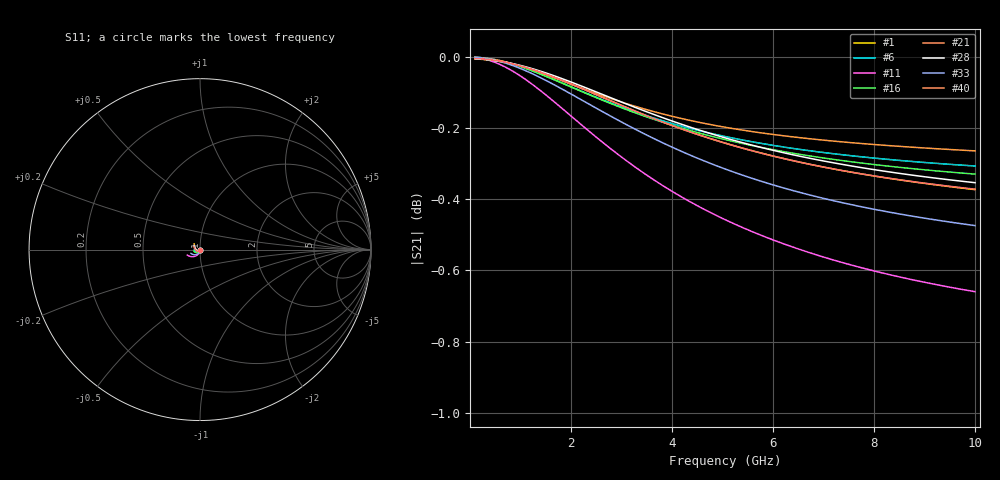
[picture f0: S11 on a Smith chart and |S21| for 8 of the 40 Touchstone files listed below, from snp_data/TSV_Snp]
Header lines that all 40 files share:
! Touchstone file exported from HFSS 2024.1.0
!  Design:  TSV1
!  Setup:  Setup1
!  Solution:  Sweep
! Variables:
# GHz S MA R 50.000000
! Terminal data exported
! Port[1] = TSV22_T1
! Port[2] = TSV22_T2
Fixed: hbump = 3um, lrdl = 252.1521522um, p = 40, t = 500um, trdl = 3um, wrdl = 24.89489489um
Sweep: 100 MHz to 10 GHz
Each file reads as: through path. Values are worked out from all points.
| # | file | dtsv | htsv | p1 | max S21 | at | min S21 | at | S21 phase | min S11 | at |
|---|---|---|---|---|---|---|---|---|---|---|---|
| 1 | dut0.s2p | 5.08um | 99.49um | 51.03um | -0.01 dB | 100 MHz | -0.4 dB | 10 GHz | -4 deg at 5.1 GHz | -61.8 dB | 100 MHz |
| 2 | dut1.s2p | 10.61um | 98.44um | 49.97um | 0.00 dB | 100 MHz | -0.5 dB | 10 GHz | -4 deg at 5.1 GHz | -56.0 dB | 100 MHz |
| 3 | dut2.s2p | 12.22um | 78.29um | 45.14um | 0.00 dB | 100 MHz | -0.5 dB | 10 GHz | -4 deg at 5.1 GHz | -56.5 dB | 100 MHz |
| 4 | dut3.s2p | 13.84um | 89.66um | 59.86um | 0.00 dB | 100 MHz | -0.5 dB | 10 GHz | -4 deg at 5.1 GHz | -54.5 dB | 100 MHz |
| 5 | dut4.s2p | 10.47um | 62.48um | 43.93um | 0.00 dB | 100 MHz | -0.4 dB | 10 GHz | -3 deg at 5.1 GHz | -59.6 dB | 100 MHz |
| 6 | dut5.s2p | 12.37um | 52.35um | 54.32um | 0.00 dB | 100 MHz | -0.3 dB | 10 GHz | -3 deg at 5.1 GHz | -60.4 dB | 100 MHz |
| 7 | dut6.s2p | 13.36um | 87.99um | 50um | 0.00 dB | 100 MHz | -0.6 dB | 10 GHz | -4 deg at 5.1 GHz | -54.7 dB | 100 MHz |
| 8 | dut7.s2p | 9.18um | 60.91um | 45.67um | 0.00 dB | 100 MHz | -0.3 dB | 10 GHz | -3 deg at 5.1 GHz | -61.0 dB | 100 MHz |
| 9 | dut8.s2p | 6.12um | 51.68um | 51.59um | 0.00 dB | 100 MHz | -0.2 dB | 10 GHz | -2 deg at 5.1 GHz | -65.4 dB | 100 MHz |
| 10 | dut9.s2p | 11.55um | 77.41um | 40.06um | 0.00 dB | 100 MHz | -0.5 dB | 10 GHz | -4 deg at 5.1 GHz | -56.9 dB | 100 MHz |
| 11 | dut10.s2p | 14.38um | 98.25um | 46.89um | 0.00 dB | 100 MHz | -0.7 dB | 10 GHz | -5 deg at 5.1 GHz | -52.8 dB | 100 MHz |
| 12 | dut11.s2p | 5.19um | 78.64um | 53.11um | 0.00 dB | 100 MHz | -0.3 dB | 10 GHz | -3 deg at 5.1 GHz | -63.4 dB | 100 MHz |
| 13 | dut12.s2p | 14.57um | 55.06um | 57.07um | 0.00 dB | 100 MHz | -0.4 dB | 10 GHz | -3 deg at 5.1 GHz | -58.3 dB | 100 MHz |
| 14 | dut13.s2p | 11.23um | 92.6um | 58.41um | 0.00 dB | 100 MHz | -0.5 dB | 10 GHz | -4 deg at 5.1 GHz | -56.3 dB | 100 MHz |
| 15 | dut14.s2p | 9.48um | 80.71um | 41.41um | 0.00 dB | 100 MHz | -0.4 dB | 10 GHz | -4 deg at 5.1 GHz | -58.3 dB | 100 MHz |
| 16 | dut15.s2p | 13.07um | 52.8um | 48.98um | 0.00 dB | 100 MHz | -0.3 dB | 10 GHz | -3 deg at 5.1 GHz | -59.5 dB | 100 MHz |
| 17 | dut16.s2p | 10.75um | 80.55um | 55.18um | 0.00 dB | 100 MHz | -0.4 dB | 10 GHz | -4 deg at 5.1 GHz | -57.9 dB | 100 MHz |
| 18 | dut17.s2p | 8.76um | 75.07um | 58.65um | 0.00 dB | 100 MHz | -0.4 dB | 10 GHz | -3 deg at 5.1 GHz | -60.7 dB | 100 MHz |
| 19 | dut18.s2p | 7.4um | 86.7um | 45.8um | 0.00 dB | 100 MHz | -0.4 dB | 10 GHz | -4 deg at 5.1 GHz | -60.3 dB | 100 MHz |
| 20 | dut19.s2p | 14.71um | 78.07um | 56.25um | 0.00 dB | 100 MHz | -0.5 dB | 10 GHz | -4 deg at 5.1 GHz | -55.0 dB | 100 MHz |
| 21 | dut20.s2p | 9.85um | 51.12um | 58.31um | 0.00 dB | 100 MHz | -0.3 dB | 10 GHz | -2 deg at 5.1 GHz | -62.7 dB | 100 MHz |
| 22 | dut21.s2p | 9.97um | 82.16um | 49.92um | 0.00 dB | 100 MHz | -0.4 dB | 10 GHz | -4 deg at 5.1 GHz | -58.1 dB | 100 MHz |
| 23 | dut22.s2p | 10.29um | 88.58um | 44.59um | 0.00 dB | 100 MHz | -0.5 dB | 10 GHz | -4 deg at 5.1 GHz | -56.9 dB | 100 MHz |
| 24 | dut23.s2p | 5.74um | 51.97um | 57.11um | 0.00 dB | 100 MHz | -0.2 dB | 10 GHz | -3 deg at 5.1 GHz | -65.8 dB | 100 MHz |
| 25 | dut24.s2p | 9.03um | 65.6um | 56.14um | 0.00 dB | 100 MHz | -0.3 dB | 10 GHz | -3 deg at 5.1 GHz | -61.3 dB | 100 MHz |
| 26 | dut25.s2p | 5.53um | 72.79um | 52.69um | 0.00 dB | 100 MHz | -0.3 dB | 10 GHz | -3 deg at 5.1 GHz | -63.8 dB | 100 MHz |
| 27 | dut26.s2p | 7.91um | 55.5um | 57.33um | 0.00 dB | 100 MHz | -0.3 dB | 10 GHz | -3 deg at 5.1 GHz | -63.8 dB | 100 MHz |
| 28 | dut27.s2p | 5.17um | 91.64um | 46.14um | -0.01 dB | 100 MHz | -0.4 dB | 10 GHz | -4 deg at 5.1 GHz | -62.0 dB | 100 MHz |
| 29 | dut28.s2p | 7.61um | 81.86um | 46.97um | 0.00 dB | 100 MHz | -0.4 dB | 10 GHz | -4 deg at 5.1 GHz | -60.5 dB | 100 MHz |
| 30 | dut29.s2p | 10um | 59.72um | 52.86um | 0.00 dB | 100 MHz | -0.3 dB | 10 GHz | -3 deg at 5.1 GHz | -60.9 dB | 100 MHz |
| 31 | dut30.s2p | 5.2um | 76.69um | 55.5um | 0.00 dB | 100 MHz | -0.3 dB | 10 GHz | -3 deg at 5.1 GHz | -63.7 dB | 100 MHz |
| 32 | dut31.s2p | 8.34um | 76.74um | 44.7um | 0.00 dB | 100 MHz | -0.4 dB | 10 GHz | -3 deg at 5.1 GHz | -60.0 dB | 100 MHz |
| 33 | dut32.s2p | 11.54um | 79.24um | 40.76um | 0.00 dB | 100 MHz | -0.5 dB | 10 GHz | -4 deg at 5.1 GHz | -56.7 dB | 100 MHz |
| 34 | dut33.s2p | 14.07um | 87.42um | 56.87um | 0.00 dB | 100 MHz | -0.5 dB | 10 GHz | -4 deg at 5.1 GHz | -54.5 dB | 100 MHz |
| 35 | dut34.s2p | 9.25um | 55um | 43.75um | 0.00 dB | 100 MHz | -0.3 dB | 10 GHz | -3 deg at 5.1 GHz | -61.6 dB | 100 MHz |
| 36 | dut35.s2p | 11.06um | 75.31um | 49.75um | 0.00 dB | 100 MHz | -0.4 dB | 10 GHz | -3 deg at 5.1 GHz | -57.9 dB | 100 MHz |
| 37 | dut36.s2p | 11.73um | 88.05um | 48.22um | 0.00 dB | 100 MHz | -0.5 dB | 10 GHz | -4 deg at 5.1 GHz | -56.0 dB | 100 MHz |
| 38 | dut37.s2p | 12.59um | 70.98um | 46.8um | 0.00 dB | 100 MHz | -0.5 dB | 10 GHz | -3 deg at 5.1 GHz | -55.8 dB | 100 MHz |
| 39 | dut38.s2p | 14.04um | 95.3um | 54.53um | 0.00 dB | 100 MHz | -0.6 dB | 10 GHz | -4 deg at 5.1 GHz | -53.6 dB | 100 MHz |
| 40 | dut39.s2p | 5.66um | 92.7um | 46.07um | 0.00 dB | 100 MHz | -0.4 dB | 10 GHz | -4 deg at 5.1 GHz | -61.7 dB | 100 MHz |
